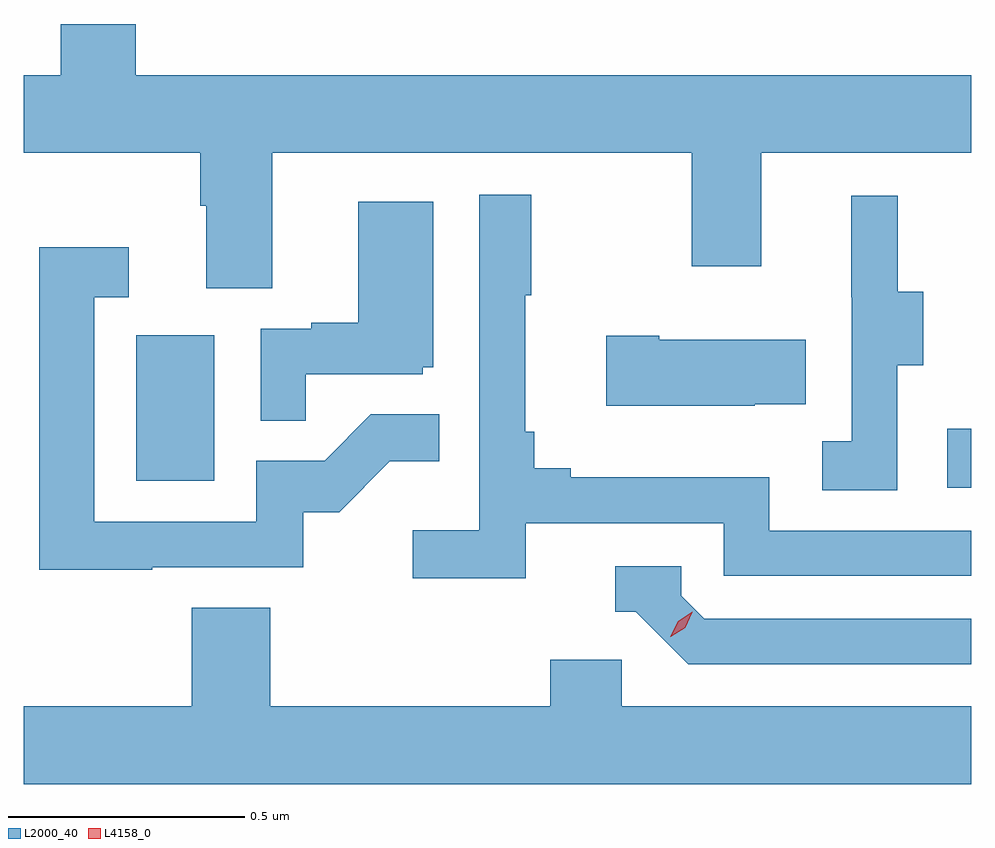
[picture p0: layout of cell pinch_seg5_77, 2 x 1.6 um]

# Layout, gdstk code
import gdstk
lib = gdstk.Library(unit=1e-6, precision=1e-09)
def R(c, l, rs):  # rectangles x0, y0, x1, y1
    for r in rs: c.add(gdstk.rectangle(r[:2], r[2:], *l))
def P(c, l, *ps):  # polygons
    for p in ps: c.add(gdstk.Polygon(p, *l))
L2000_40 = (2000, 40)
L4158_0 = (4158, 0)

pinch_seg5_77 = lib.new_cell('pinch_seg5_77')
R(pinch_seg5_77, L2000_40, [(1033.719,901.341,1033.77,901.466), (1032.008,901.356,1032.172,901.663)])
P(pinch_seg5_77, L2000_40, [(1032.295,902.048),(1033.18,902.048),(1033.18,901.809),(1033.327,901.809),(1033.327,902.048),(1033.77,902.048),(1033.77,902.212),(1032.007,902.212),(1032.007,902.32),(1031.848,902.32),(1031.848,902.212),(1031.77,902.212),(1031.77,902.048),(1032.143,902.048),(1032.143,901.936),(1032.155,901.936),(1032.155,901.762),(1032.295,901.762)],
  [(1032.83,901.266),(1033.248,901.266),(1033.248,901.155),(1033.77,901.155),(1033.77,901.251),(1033.344,901.251),(1033.344,901.363),(1032.925,901.363),(1032.925,901.382),(1032.848,901.382),(1032.848,901.459),(1032.829,901.459),(1032.829,901.747),(1032.841,901.747),(1032.841,901.96),(1032.732,901.96),(1032.732,901.252),(1032.591,901.252),(1032.591,901.15),(1032.83,901.15)],
  [(1033.614,901.6),(1033.669,901.6),(1033.669,901.755),(1033.615,901.755),(1033.615,901.957),(1033.517,901.957),(1033.517,901.743),(1033.518,901.743),(1033.518,901.439),(1033.455,901.439),(1033.455,901.336),(1033.614,901.336)],
  [(1032.365,901.581),(1032.612,901.581),(1032.612,901.596),(1032.634,901.596),(1032.634,901.945),(1032.476,901.945),(1032.476,901.69),(1032.377,901.69),(1032.377,901.677),(1032.27,901.677),(1032.27,901.483),(1032.365,901.483)],
  [(1032.041,901.173),(1032.36,901.173),(1032.36,901.29),(1032.436,901.29),(1032.543,901.397),(1032.647,901.397),(1032.647,901.496),(1032.503,901.496),(1032.405,901.398),(1032.261,901.398),(1032.261,901.269),(1031.919,901.269),(1031.919,901.743),(1031.992,901.743),(1031.992,901.849),(1031.803,901.849),(1031.803,901.168),(1032.041,901.168)],
  [(1033.313,901.517),(1033.421,901.517),(1033.421,901.654),(1033.111,901.654),(1033.111,901.662),(1032.999,901.662),(1032.999,901.514),(1033.313,901.514)],
  [(1033.77,901.065),(1033.206,901.065),(1033.158,901.113),(1033.158,901.176),(1033.019,901.176),(1033.019,901.08),(1033.062,901.08),(1033.173,900.969),(1033.77,900.969)],
  [(1033.77,900.88),(1033.032,900.88),(1033.032,900.978),(1032.881,900.978),(1032.881,900.88),(1032.29,900.88),(1032.29,901.088),(1032.125,901.088),(1032.125,900.88),(1031.77,900.88),(1031.77,900.716),(1033.77,900.716)])
P(pinch_seg5_77, L4158_0, [(1033.135,901.027),(1033.135,901.027),(1033.151,901.06),(1033.181,901.08),(1033.181,901.08),(1033.181,901.079),(1033.166,901.046),(1033.136,901.027)])

lib.write_gds('pinch_seg5_77.gds')
